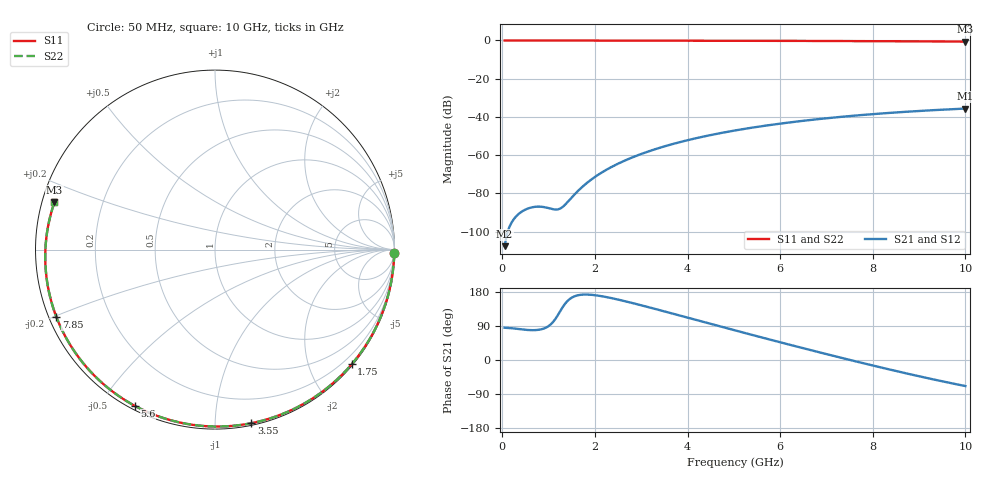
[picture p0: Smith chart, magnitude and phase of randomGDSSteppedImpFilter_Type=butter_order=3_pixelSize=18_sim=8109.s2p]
! freq	dB(S11)	phase(S11)	dB(S12)	phase(S12)
!  dB(S21)	phase(S21)	dB(S22)	phase(S22)
!S-par simulation data
#  GHz  S  DB  R 50
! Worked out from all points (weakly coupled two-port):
!   200 points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, 50 MHz to 10 GHz, reference 50 ohm
!   highest |S21| = -35.61 dB at 10 GHz (marker M1); lowest = -107.6 dB at 50 MHz (marker M2)
!   lowest |S11| = -0.6 dB at 10 GHz (marker M3), VSWR 28.59, Z = 1.79 + j7.21 ohm
!   |S11| at or under -10 dB: nowhere
!   |S22| runs from -0.6 to 0.0 dB; largest |S21 - S12| = 0
!   S11 on the Smith chart (normalised r, x): 50 MHz: open; 1.75 GHz: 0.02, -2.75; 3.55 GHz: 0.01, -1.23; 5.6 GHz: 0.02, -0.61; 7.85 GHz: 0.02, -0.20; 10 GHz: 0.04, +0.14
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0.05  -0.01 -1.1  -107.56 85.1  -107.56 85.1  -0.01 -1.1
0.45  -0.02 -10.4  -89.05 80.3  -89.05 80.3  -0.02 -10.4
0.8  -0.02 -18.5  -86.89 80.0  -86.89 80.0  -0.02 -18.5
1.55  -0.04 -35.6  -80.78 167.6  -80.78 167.6  -0.04 -35.6
1.6  -0.05 -36.7  -79.51 169.8  -79.51 169.8  -0.05 -36.7
1.75  -0.05 -40.0  -76.07 172.6  -76.07 172.6  -0.05 -40.0
2.05  -0.06 -46.6  -70.55 170.2  -70.55 170.2  -0.06 -46.6
2.25  -0.06 -51.0  -67.59 166.0  -67.59 166.0  -0.06 -51.0
2.45  -0.07 -55.3  -65.02 160.8  -65.02 160.8  -0.07 -55.3
2.9  -0.08 -64.8  -60.27 147.5  -60.27 147.5  -0.08 -64.8
3.4  -0.10 -75.1  -56.12 131.6  -56.12 131.6  -0.10 -75.1
3.55  -0.10 -78.1  -55.04 126.7  -55.04 126.7  -0.10 -78.1
4.3  -0.13 -92.9  -50.48 102.0  -50.48 102.0  -0.13 -92.9
5.05  -0.16 -107.1  -46.96 77.4  -46.96 77.4  -0.16 -107.1
5.6  -0.19 -117.2  -44.84 59.6  -44.84 59.6  -0.19 -117.2
6.15  -0.22 -127.1  -43.02 42.0  -43.02 42.0  -0.22 -127.1
6.7  -0.26 -136.8  -41.46 24.8  -41.46 24.8  -0.26 -136.8
7.3  -0.31 -147.3  -39.98 6.4  -39.98 6.4  -0.31 -147.3
7.85  -0.35 -157.0  -38.82 -10.1  -38.82 -10.1  -0.35 -157.0
8.35  -0.40 -165.8  -37.89 -24.7  -37.89 -24.7  -0.40 -165.8
9.2  -0.50 178.8  -36.59 -48.3  -36.59 -48.3  -0.50 178.8
10  -0.61 163.6  -35.61 -68.7  -35.61 -68.7  -0.61 163.6
